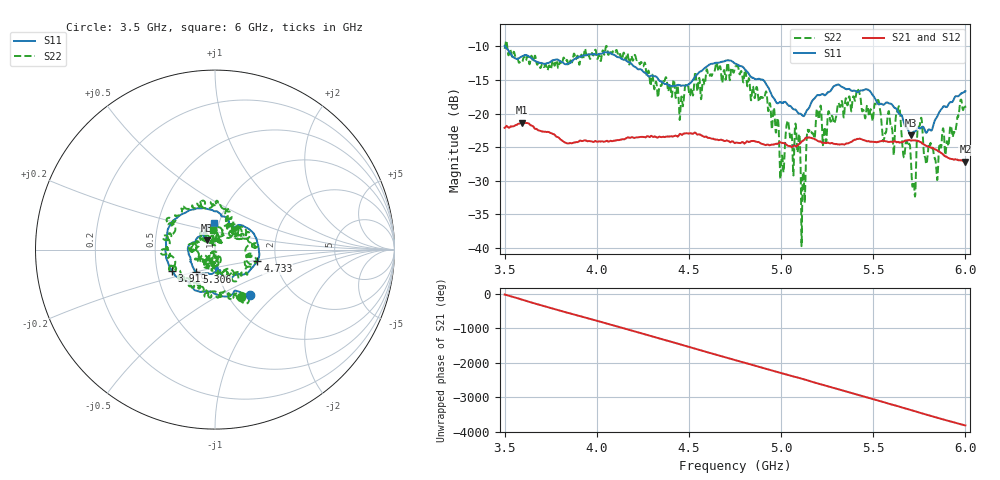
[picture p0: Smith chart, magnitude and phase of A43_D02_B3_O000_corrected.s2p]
! Created with skrf 1.9.0 (http://scikit-rf.org).
# Hz S RI R 50.0
!freq ReS11 ImS11 ReS21 ImS21 ReS12 ImS12 ReS22 ImS22
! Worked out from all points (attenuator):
!   1601 points, 3.5 GHz to 6 GHz, reference 50 ohm
!   highest |S21| = -21.36 dB at 3.595 GHz (marker M1); lowest = -27.1 dB at 6 GHz (marker M2)
!   lowest |S11| = -23.2 dB at 5.703 GHz (marker M3), VSWR 1.15, Z = 45.5 + j4.79 ohm
!   |S11| at or under -10 dB: 3.501 GHz to end of sweep
!   |S22| runs from -39.7 to -9.1 dB; largest |S21 - S12| = 0.00094
!   S11 on the Smith chart (normalised r, x): 3.5 GHz: 1.26, -0.71; 3.919 GHz: 0.60, -0.15; 4.733 GHz: 1.60, -0.22; 5.306 GHz: 0.79, -0.20; 6 GHz: 0.95, +0.28
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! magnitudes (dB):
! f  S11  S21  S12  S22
! 3.5 GHz  -9.9  -22.1  -22.1  -10.4
! 3.595 GHz  -11.5  -21.4  -21.4  -12.3
! 3.917 GHz  -11.5  -24.1  -24.1  -11.2
! 3.919 GHz  -11.5  -24.1  -24.1  -11.4
! 4.334 GHz  -14.9  -23.5  -23.4  -17.3
! 4.733 GHz  -12.2  -24.1  -24.1  -13.2
! 4.75 GHz  -12.6  -24.4  -24.3  -13.1
! 4.927 GHz  -15.9  -24.6  -24.6  -18.6
! 5.005 GHz  -18.4  -24.4  -24.4  -26.2
! 5.034 GHz  -18.7  -24.8  -24.7  -21.2
! 5.088 GHz  -19.7  -24.8  -24.7  -25.6
! 5.12 GHz  -20.4  -24.0  -23.9  -28.6
! 5.147 GHz  -19.3  -23.6  -23.6  -22.6
! 5.167 GHz  -18.2  -23.6  -23.6  -22.9
! 5.306 GHz  -15.7  -24.6  -24.5  -18.9
! 5.584 GHz  -18.5  -24.2  -24.2  -19.6
! 5.638 GHz  -19.9  -24.2  -24.2  -19.0
! 5.703 GHz  -23.2  -24.0  -24.0  -26.4
! 5.72 GHz  -22.7  -24.0  -24.0  -30.2
! 5.755 GHz  -22.2  -24.2  -24.2  -21.3
! 5.842 GHz  -20.7  -25.4  -25.4  -28.2
! 6 GHz  -16.7  -27.1  -27.1  -19.2
